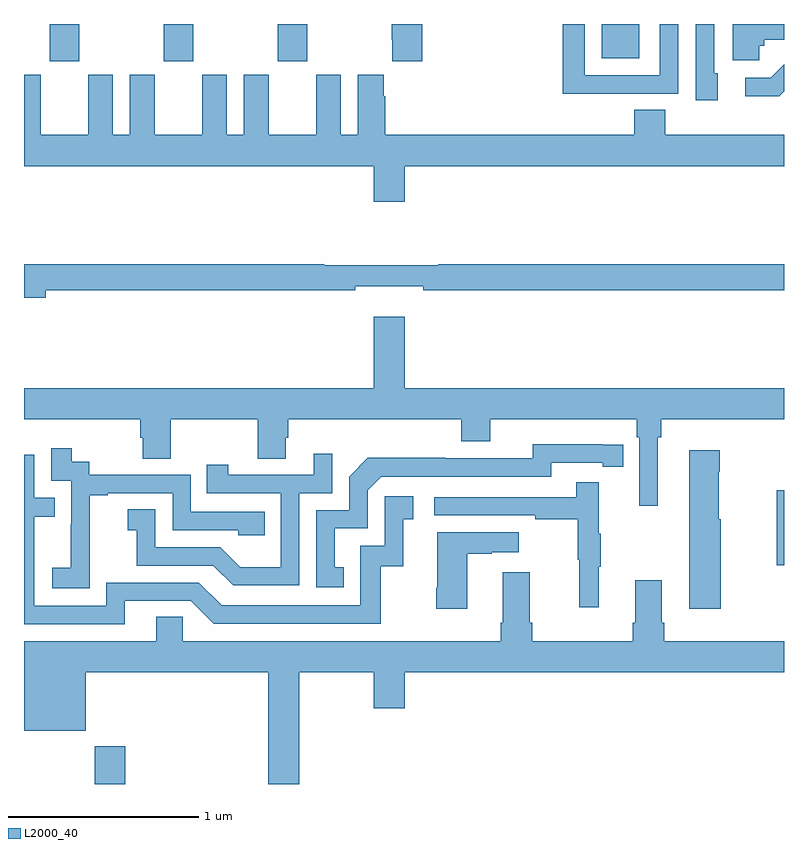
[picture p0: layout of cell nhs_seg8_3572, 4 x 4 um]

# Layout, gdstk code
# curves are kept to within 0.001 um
import gdstk
lib = gdstk.Library(unit=1e-6, precision=1e-09)
def R(c, l, rs):  # rectangles x0, y0, x1, y1
    for r in rs: c.add(gdstk.rectangle(r[:2], r[2:], *l))
def A(c, l, x, y, w, h, nx, ny, dx, dy):  # array of equal rectangles
    R(c, l, [(x+i*dx, y+j*dy, x+i*dx+w, y+j*dy+h) for i in range(nx) for j in range(ny)])
def P(c, l, *ps):  # polygons
    for p in ps: c.add(gdstk.Polygon(p, *l))
L2000_40 = (2000, 40)

nhs_seg8_3572 = lib.new_cell('nhs_seg8_3572')
A(nhs_seg8_3572, L2000_40, 331.135, 1131.705, 0.155, 0.195, 3, 1, 0.6, 0)
R(nhs_seg8_3572, L2000_40, [(331.372,1127.9,331.532,1128.1), (334.963,1129.051,335,1129.447), (334.04,1131.719,334.237,1131.9)])
P(nhs_seg8_3572, L2000_40, [(334.651,1131.642),(334.632,1131.642),(334.632,1131.9),(334.536,1131.9),(334.536,1131.498),(334.651,1131.498)],
  [(333.095,1131.9),(332.935,1131.9),(332.935,1131.817),(332.939,1131.817),(332.939,1131.705),(333.095,1131.705)],
  [(334.869,1131.786),(334.896,1131.786),(334.896,1131.818),(335,1131.818),(335,1131.9),(334.73,1131.9),(334.73,1131.71),(334.869,1131.71)],
  [(334.127,1131.534),(334.443,1131.534),(334.443,1131.9),(334.347,1131.9),(334.347,1131.63),(333.951,1131.63),(333.951,1131.9),(333.835,1131.9),(333.835,1131.533),(334.127,1131.533)],
  [(335,1131.546),(335,1131.687),(334.931,1131.618),(334.797,1131.618),(334.797,1131.521),(334.975,1131.521)],
  [(331,1131.634),(331,1131.152),(332.84,1131.152),(332.84,1130.964),(333.004,1130.964),(333.004,1131.152),(335,1131.152),(335,1131.316),(334.376,1131.316),(334.376,1131.449),(334.211,1131.449),(334.211,1131.316),(332.9,1131.316),(332.9,1131.521),(332.893,1131.521),(332.893,1131.634),(332.756,1131.634),(332.756,1131.316),(332.668,1131.316),(332.668,1131.634),(332.537,1131.634),(332.537,1131.316),(332.287,1131.316),(332.287,1131.634),(332.156,1131.634),(332.156,1131.316),(332.068,1131.316),(332.068,1131.634),(331.937,1131.634),(331.937,1131.316),(331.687,1131.316),(331.687,1131.634),(331.556,1131.634),(331.556,1131.316),(331.468,1131.316),(331.468,1131.634),(331.337,1131.634),(331.337,1131.316),(331.087,1131.316),(331.087,1131.634)],
  [(331.114,1130.5),(332.744,1130.5),(332.744,1130.519),(333.1,1130.519),(333.1,1130.5),(335,1130.5),(335,1130.636),(333.179,1130.636),(333.179,1130.629),(332.579,1130.629),(332.579,1130.636),(331,1130.636),(331,1130.458),(331.114,1130.458)],
  [(334.336,1129.724),(334.355,1129.724),(334.355,1129.82),(335,1129.82),(335,1129.984),(333.004,1129.984),(333.004,1130.359),(332.84,1130.359),(332.84,1129.984),(331,1129.984),(331,1129.82),(331.613,1129.82),(331.613,1129.722),(331.625,1129.722),(331.625,1129.612),(331.773,1129.612),(331.773,1129.82),(332.23,1129.82),(332.23,1129.612),(332.377,1129.612),(332.377,1129.722),(332.39,1129.722),(332.39,1129.82),(333.302,1129.82),(333.302,1129.703),(333.454,1129.703),(333.454,1129.82),(334.226,1129.82),(334.226,1129.724),(334.239,1129.724),(334.239,1129.365),(334.336,1129.365)],
  [(332.684,1129.041),(332.635,1129.041),(332.635,1129.245),(332.808,1129.245),(332.808,1129.446),(332.88,1129.518),(333.774,1129.518),(333.774,1129.59),(334.046,1129.59),(334.046,1129.57),(334.154,1129.57),(334.154,1129.686),(333.678,1129.687),(333.678,1129.614),(333.218,1129.614),(333.218,1129.616),(332.81,1129.616),(332.712,1129.518),(332.712,1129.341),(332.538,1129.341),(332.538,1128.936),(332.684,1128.936)],
  [(331.347,1129.135),(331.346,1129.135),(331.346,1129.419),(331.441,1129.419),(331.441,1129.431),(331.782,1129.431),(331.782,1129.236),(332.127,1129.236),(332.127,1129.209),(332.267,1129.209),(332.267,1129.332),(331.878,1129.332),(331.878,1129.527),(331.344,1129.527),(331.344,1129.596),(331.252,1129.596),(331.252,1129.666),(331.143,1129.666),(331.143,1129.497),(331.248,1129.497),(331.248,1129.268),(331.247,1129.268),(331.247,1129.039),(331.149,1129.039),(331.149,1128.929),(331.347,1128.929)],
  [(334.666,1129.293),(334.656,1129.293),(334.656,1129.544),(334.661,1129.544),(334.661,1129.657),(334.502,1129.657),(334.502,1128.822),(334.666,1128.822)],
  [(332.448,1129.431),(332.622,1129.431),(332.622,1129.639),(332.525,1129.639),(332.525,1129.527),(332.074,1129.527),(332.074,1129.579),(331.963,1129.579),(331.963,1129.431),(332.352,1129.431),(332.352,1129.042),(332.138,1129.042),(332.034,1129.146),(331.692,1129.146),(331.692,1129.345),(331.545,1129.345),(331.545,1129.235),(331.594,1129.235),(331.594,1129.05),(331.997,1129.05),(332.102,1128.945),(332.448,1128.945)],
  [(331.531,1128.864),(331.878,1128.864),(331.998,1128.744),(332.878,1128.744),(332.878,1129.047),(332.996,1129.047),(332.996,1129.293),(333.049,1129.293),(333.049,1129.414),(332.898,1129.414),(332.898,1129.155),(332.769,1129.155),(332.769,1128.84),(332.04,1128.84),(331.92,1128.96),(331.434,1128.96),(331.434,1128.837),(331.053,1128.837),(331.053,1129.306),(331.163,1129.306),(331.163,1129.407),(331.053,1129.407),(331.053,1129.632),(331,1129.632),(331,1128.741),(331.531,1128.741)],
  [(334.025,1129.043),(334.036,1129.043),(334.036,1129.217),(334.025,1129.217),(334.025,1129.489),(333.907,1129.489),(333.907,1129.41),(333.159,1129.41),(333.159,1129.314),(333.691,1129.314),(333.691,1129.294),(333.915,1129.294),(333.915,1129.08),(333.922,1129.08),(333.922,1128.831),(334.025,1128.831)],
  [(333.334,1129.111),(333.461,1129.111),(333.461,1129.121),(333.604,1129.121),(333.604,1129.225),(333.176,1129.225),(333.176,1128.934),(333.169,1128.934),(333.169,1128.822),(333.334,1128.822)],
  [(332.449,1128.488),(332.84,1128.488),(332.84,1128.3),(333.004,1128.3),(333.004,1128.488),(335,1128.488),(335,1128.652),(334.37,1128.652),(334.37,1128.748),(334.357,1128.748),(334.357,1128.973),(334.217,1128.973),(334.217,1128.748),(334.205,1128.748),(334.205,1128.652),(333.674,1128.652),(333.674,1128.748),(333.661,1128.748),(333.661,1129.015),(333.521,1129.015),(333.521,1128.748),(333.509,1128.748),(333.509,1128.652),(331.836,1128.652),(331.836,1128.779),(331.697,1128.779),(331.697,1128.652),(331,1128.652),(331,1128.179),(331.324,1128.179),(331.324,1128.488),(332.285,1128.488),(332.285,1127.9),(332.449,1127.9)])

lib.write_gds('nhs_seg8_3572.gds')
